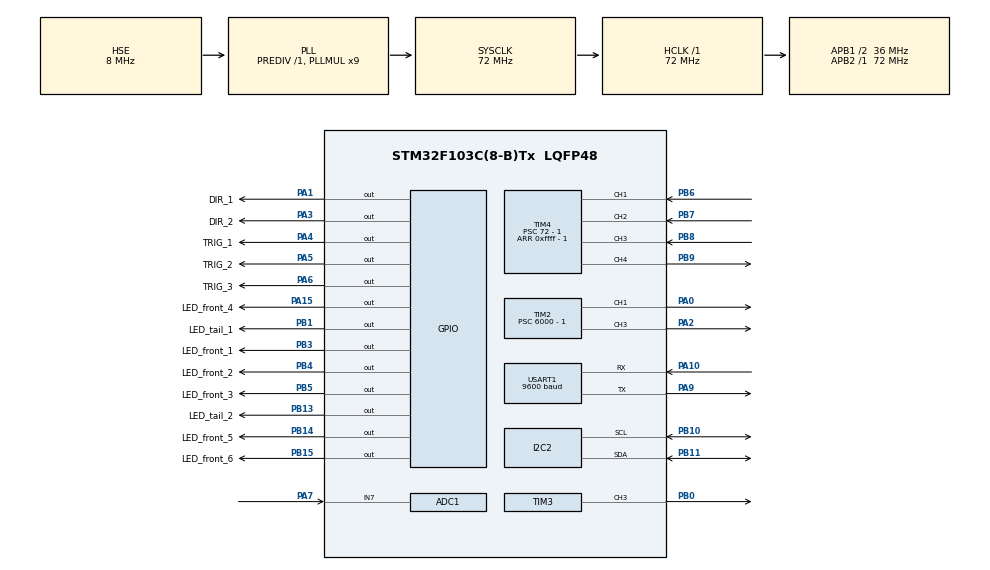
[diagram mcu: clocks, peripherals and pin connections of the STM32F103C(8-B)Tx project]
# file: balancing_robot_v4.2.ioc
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ADC1.Channel-5\#ChannelRegularConversion=ADC_CHANNEL_7
ADC1.ContinuousConvMode=ENABLE
ADC1.NbrOfConversionFlag=1
ADC1.Rank-5\#ChannelRegularConversion=1
ADC1.SamplingTime-5\#ChannelRegularConversion=ADC_SAMPLETIME_1CYCLE_5
ADC1.master=1
Dma.ADC1.0.Direction=DMA_PERIPH_TO_MEMORY
Dma.ADC1.0.Instance=DMA1_Channel1
Dma.ADC1.0.MemDataAlignment=DMA_MDATAALIGN_WORD
Dma.ADC1.0.MemInc=DMA_MINC_ENABLE
Dma.ADC1.0.Mode=DMA_CIRCULAR
Dma.ADC1.0.PeriphDataAlignment=DMA_PDATAALIGN_WORD
Dma.ADC1.0.PeriphInc=DMA_PINC_DISABLE
Dma.ADC1.0.Priority=DMA_PRIORITY_LOW
Dma.Request0=ADC1
FREERTOS.INCLUDE_uxTaskGetStackHighWaterMark=1
FREERTOS.INCLUDE_vTaskDelayUntil=1
FREERTOS.Tasks01=MPU6050,2,256,readMPU6050,Default,NULL,Dynamic,NULL,NULL;xBEERemote,-1,320,moveRemote,Default,NULL,Dynamic,NULL,NULL;Robot,1,256,balanceBot,Default,NULL,Dynamic,NULL,NULL;BatteryVoltage,-2,256,checkBatteryVoltage,Default,NULL,Dynamic,NULL,NULL;HCSR04,0,320,avoidCollision,Default,NULL,Dynamic,NULL,NULL
FREERTOS.configCHECK_FOR_STACK_OVERFLOW=2
FREERTOS.configMAX_TASK_NAME_LEN=20
FREERTOS.configMINIMAL_STACK_SIZE=256
FREERTOS.configRECORD_STACK_HIGH_ADDRESS=1
FREERTOS.configTIMER_TASK_PRIORITY=1
FREERTOS.configTIMER_TASK_STACK_DEPTH=256
FREERTOS.configTOTAL_HEAP_SIZE=10000
FREERTOS.configUSE_MALLOC_FAILED_HOOK=1
FREERTOS.configUSE_MUTEXES=1
FREERTOS.configUSE_TIMERS=0
Mcu.Family=STM32F1
Mcu.Name=STM32F103C(8-B)Tx
Mcu.Package=LQFP48
NVIC.ADC1_2_IRQn=true\:0\:0\:false\:false\:true\:false\:true\:true
NVIC.DMA1_Channel1_IRQn=true\:0\:0\:false\:false\:true\:false\:false\:true
NVIC.PriorityGroup=NVIC_PRIORITYGROUP_4
NVIC.TIM1_UP_IRQn=true\:0\:0\:false\:false\:true\:false\:true\:true
NVIC.TIM2_IRQn=true\:0\:0\:false\:false\:true\:false\:true\:true
NVIC.TIM3_IRQn=true\:0\:0\:false\:false\:true\:false\:true\:true
NVIC.TIM4_IRQn=true\:0\:0\:false\:false\:true\:false\:true\:true
NVIC.TimeBase=TIM1_UP_IRQn
NVIC.TimeBaseIP=TIM1
NVIC.USART1_IRQn=true\:0\:0\:false\:false\:true\:false\:true\:true
PA0-WKUP.Signal=S_TIM2_CH1_ETR
PA1.GPIO_Label=DIR_1
PA1.Signal=GPIO_Output
PA10.Mode=Asynchronous
PA10.Signal=USART1_RX
PA13.Mode=Serial_Wire
PA13.Signal=SYS_JTMS-SWDIO
PA14.Mode=Serial_Wire
PA14.Signal=SYS_JTCK-SWCLK
PA15.GPIO_Label=LED_front_4
PA15.Signal=GPIO_Output
PA2.Signal=S_TIM2_CH3
PA3.GPIO_Label=DIR_2
PA3.Signal=GPIO_Output
PA4.GPIO_Label=TRIG_1
PA4.Signal=GPIO_Output
PA5.GPIO_Label=TRIG_2
PA5.Signal=GPIO_Output
PA6.GPIO_Label=TRIG_3
PA6.Signal=GPIO_Output
PA7.Signal=ADCx_IN7
PA9.Mode=Asynchronous
PA9.Signal=USART1_TX
PB0.Signal=S_TIM3_CH3
PB1.GPIO_Label=LED_tail_1
PB1.Signal=GPIO_Output
PB10.Mode=I2C
PB10.Signal=I2C2_SCL
PB11.Mode=I2C
PB11.Signal=I2C2_SDA
PB13.GPIO_Label=LED_tail_2
PB13.Signal=GPIO_Output
PB14.GPIO_Label=LED_front_5
PB14.Signal=GPIO_Output
PB15.GPIO_Label=LED_front_6
PB15.Signal=GPIO_Output
PB3.GPIO_Label=LED_front_1
PB3.Signal=GPIO_Output
PB4.GPIO_Label=LED_front_2
PB4.Signal=GPIO_Output
PB5.GPIO_Label=LED_front_3
PB5.Signal=GPIO_Output
PB6.Signal=S_TIM4_CH1
PB7.Signal=S_TIM4_CH2
PB8.Signal=S_TIM4_CH3
PB9.Signal=S_TIM4_CH4
PD0-OSC_IN.Mode=HSE-External-Oscillator
PD0-OSC_IN.Signal=RCC_OSC_IN
PD1-OSC_OUT.Mode=HSE-External-Oscillator
PD1-OSC_OUT.Signal=RCC_OSC_OUT
ProjectManager.HeapSize=0x200
ProjectManager.StackSize=0x400
ProjectManager.TargetToolchain=STM32CubeIDE
RCC.ADCPresc=RCC_ADCPCLK2_DIV6
RCC.AHBFreq_Value=72000000
RCC.APB1CLKDivider=RCC_HCLK_DIV2
RCC.APB1Freq_Value=36000000
RCC.APB1TimFreq_Value=72000000
RCC.APB2Freq_Value=72000000
RCC.APB2TimFreq_Value=72000000
RCC.HCLKFreq_Value=72000000
RCC.PLLMUL=RCC_PLL_MUL9
RCC.PLLSourceVirtual=RCC_PLLSOURCE_HSE
RCC.SYSCLKFreq_VALUE=72000000
RCC.SYSCLKSource=RCC_SYSCLKSOURCE_PLLCLK
RCC.USBFreq_Value=72000000
SH.ADCx_IN7.0=ADC1_IN7,IN7
SH.S_TIM2_CH1_ETR.0=TIM2_CH1,PWM Generation1 CH1
SH.S_TIM2_CH3.0=TIM2_CH3,PWM Generation3 CH3
SH.S_TIM3_CH3.0=TIM3_CH3,PWM Generation3 CH3
SH.S_TIM4_CH1.0=TIM4_CH1,Input_Capture1_from_TI1
SH.S_TIM4_CH2.0=TIM4_CH2,Input_Capture2_from_TI2
SH.S_TIM4_CH3.0=TIM4_CH3,Input_Capture3_from_TI3
SH.S_TIM4_CH4.0=TIM4_CH4,PWM Generation4 CH4
TIM2.AutoReloadPreload=TIM_AUTORELOAD_PRELOAD_ENABLE
TIM2.Channel-PWM\ Generation1\ CH1=TIM_CHANNEL_1
TIM2.Channel-PWM\ Generation3\ CH3=TIM_CHANNEL_3
TIM2.Period=255
TIM2.Prescaler=6000 - 1
TIM3.AutoReloadPreload=TIM_AUTORELOAD_PRELOAD_ENABLE
TIM3.Channel-PWM\ Generation3\ CH3=TIM_CHANNEL_3
TIM3.Period=9
TIM3.Prescaler=6000 - 1
TIM4.AutoReloadPreload=TIM_AUTORELOAD_PRELOAD_ENABLE
TIM4.Channel-Input_Capture1_from_TI1=TIM_CHANNEL_1
TIM4.Channel-Input_Capture2_from_TI2=TIM_CHANNEL_2
TIM4.Channel-Input_Capture3_from_TI3=TIM_CHANNEL_3
TIM4.Channel-PWM\ Generation4\ CH4=TIM_CHANNEL_4
TIM4.Period=0xffff - 1
TIM4.Prescaler=72 - 1
USART1.BaudRate=9600
USART1.Parity=PARITY_NONE
USART1.StopBits=STOPBITS_1
USART1.VirtualMode=VM_ASYNC
VP_FREERTOS_VS_CMSIS_V1.Mode=CMSIS_V1
VP_SYS_VS_tim1.Mode=TIM1
VP_TIM2_VS_ClockSourceINT.Mode=Internal
VP_TIM3_VS_ClockSourceINT.Mode=Internal
VP_TIM4_VS_ClockSourceINT.Mode=Internal
board=custom

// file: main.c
/* USER CODE BEGIN Header */
/**
  ******************************************************************************
  * @file           : main.c
  * @brief          : Main program body
  ******************************************************************************
  * @attention
  *
  * <h2><center>&copy; Copyright (c) 2020 STMicroelectronics.
  * All rights reserved.</center></h2>
  *
  * This software component is licensed by ST under Ultimate Liberty license
  * SLA0044, the "License"; You may not use this file except in compliance with
  * the License. You may obtain a copy of the License at:
  *                             www.st.com/SLA0044
  *
  ******************************************************************************
  */
/* USER CODE END Header */
#include "main.h"
#include "cmsis_os.h"

/* USER CODE BEGIN Includes */

#include<stdio.h>
#include<math.h>

/* USER CODE END Includes */

/* USER CODE BEGIN PD */

// GY-521/MPU6050 Address
#define MPU6050_ADDR 0xD0
#define SMPLRT_DIV_REG 0x19
#define GYRO_CONFIG_REG 0x1B
#define ACCEL_CONFIG_REG 0x1C
#define ACCEL_XOUT_H_REG 0x3B
#define TEMP_OUT_H_REG 0x41
#define GYRO_XOUT_H_REG 0x43
#define PWR_MGMT_1_REG 0x6B
#define WHO_AM_I_REG 0x75

// Tones in Hz
#define C1	33
#define C2	65
#define C3	131
#define C4	262
#define C5	523
#define C6	1047
#define C7	2093
#define C8	4186
#define D1	37
#define D2	73
#define D3	147
#define D4	294
#define D5	587
#define D6	1175
#define D7	2349
#define D8	4699

#define SYS_CLOCK_FREQUENCY 72000000 // 72MHz
#define PSC	6000	// Prescalar of 6000 for TIM2 & TIM3

// Battery voltage constants
#define ADC_BUF_LEN	100
#define RES_RATIO 4.30
#define SAFE_VOLTAGE 10.5

#define XBEE_BUF_LEN 22

// NEMA17 Specifications
#define STEPS_PER_REVOLUTION 200
#define STEP_ANGLE 1.8
#define MICROSTEPPING 8		// Using microstepping of 1/8

// Robot Specifications
#define WHEEL_DIAMETER 0.094		// 9.4 cm
#define WHEEL_CIRCUMFERENCE M_PI * WHEEL_DIAMETER

/* USER CODE END PD */

ADC_HandleTypeDef hadc1;
DMA_HandleTypeDef hdma_adc1;

I2C_HandleTypeDef hi2c2;

TIM_HandleTypeDef htim2;
TIM_HandleTypeDef htim3;
TIM_HandleTypeDef htim4;

UART_HandleTypeDef huart1;
DMA_HandleTypeDef hdma_usart1_rx;

osThreadId MPU6050Handle;
osThreadId xBEERemoteHandle;
osThreadId RobotHandle;
osThreadId BatteryVoltageHandle;
osThreadId HCSR04Handle;
/* USER CODE BEGIN PV */

// MPU6050 configuration
int16_t Accel_X_RAW = 0;
int16_t Accel_Y_RAW = 0;
int16_t Accel_Z_RAW = 0;

int16_t Gyro_X_RAW = 0;
int16_t Gyro_Y_RAW = 0;
int16_t Gyro_Z_RAW = 0;

float Ax, Ay, Az, Gx, Gy, Gz;
float Accel_X_Angle, Accel_Y_Angle, Gyro_X_Angle, Gyro_Y_Angle;
float roll, pitch;

// Buzzer configuration
uint16_t buzzer_frequency = 0;
uint16_t buzzer_duty_cycle = 0;

// HC-SR04 configuration
uint32_t IC_Val1 = 0;
uint32_t IC_Val2 = 0;
uint32_t Difference = 0;
uint8_t is_first_captured = 0;	// is the first value captured ?
uint8_t distance[3];

// Battery voltage configuration
uint32_t adc_buf[ADC_BUF_LEN];
uint32_t adc_avg_val=0;
float battery_voltage;

// xBee configuration
uint8_t xBee_buf[XBEE_BUF_LEN];
uint8_t xBee_val[10];

// joystick configuration
uint8_t left_toggle_switch;
uint8_t right_toggle_switch;
uint8_t left_joystick_button;
uint8_t right_joystick_button;
uint16_t joystick_1_x;
uint16_t joystick_1_y;
uint16_t joystick_2_x;
uint16_t joystick_2_y;

// Stepper motor configuration
uint16_t freq_hz;

// Servo motor configuration
float servo_pos = 1500;

// Robot configuration
float Sref = 0;
float s = 0;

char uart_buf[100];
int uart_buf_len;

/* USER CODE END PV */

void SystemClock_Config(void);
static void MX_GPIO_Init(void);
static void MX_DMA_Init(void);
static void MX_USART1_UART_Init(void);
static void MX_I2C2_Init(void);
static void MX_TIM4_Init(void);
static void MX_ADC1_Init(void);
static void MX_TIM3_Init(void);
static void MX_TIM2_Init(void);
void readMPU6050(void const * argument);
void moveRemote(void const * argument);
void balanceBot(void const * argument);
void checkBatteryVoltage(void const * argument);
void avoidCollision(void const * argument);

/* USER CODE BEGIN 0 */

void MPU6050_Init(void)
{
	uint8_t check, Data;
	// check device ID WHO_AM_I
	HAL_I2C_Mem_Read(&hi2c2, MPU6050_ADDR, WHO_AM_I_REG, 1, &check, 1, 1000);

	if (check == 104) // if the device is present
	{
		// power management register 0x6B we should write all 0's to wake the sensor
		Data = 0;
		HAL_I2C_Mem_Write(&hi2c2, MPU6050_ADDR, PWR_MGMT_1_REG, 1, &Data, 1, 1000);

		// Set DATA RATE of 1KHz by writing SMPLRT_DIV register
		Data = 0x07;
		HAL_I2C_Mem_Write(&hi2c2, MPU6050_ADDR, SMPLRT_DIV_REG, 1, &Data, 1, 1000);

		// Set accelerometer configuration in ACCEL_CONFIG Register
		// XA_ST=0, YA_ST=0, ZA_ST=0, FS_SEL=0 -> +-2g
		Data = 0x00;
		HAL_I2C_Mem_Write(&hi2c2, MPU6050_ADDR, ACCEL_CONFIG_REG, 1, &Data, 1, 1000);

		// Set Gyroscopic configuration in GYRO_CONFIG Register
		// XG_ST=0, YG_ST=0, ZG_ST=0, FS_SEL=0 -> +- 250 degree/s
		Data = 0x00;
		HAL_I2C_Mem_Write(&hi2c2, MPU6050_ADDR, GYRO_CONFIG_REG, 1, &Data, 1, 1000);
	}
}

void MPU6050_Read_Accel(void)
{
	uint8_t Rec_Data[6];

	// Read 6 BYTES of data starting from ACCEL_XOUT_H register

	HAL_I2C_Mem_Read(&hi2c2, MPU6050_ADDR, ACCEL_XOUT_H_REG, 1, Rec_Data, 6, 1000);

	Accel_X_RAW = (int16_t)(Rec_Data[0] << 8 | Rec_Data[1]);
	Accel_Y_RAW = (int16_t)(Rec_Data[2] << 8 | Rec_Data[3]);
	Accel_Z_RAW = (int16_t)(Rec_Data[4] << 8 | Rec_Data[5]);

	/*** convert the RAW values into acceleration in 'g'
	     we have to divide according to the Full scale value set in FS_SEL
	     I have configured FS_SEL = 0. So I am dividing by 16384.0
	     for more details check ACCEL_CONFIG Register              ****/

	Ax = Accel_X_RAW/16384.0;  // get the float g
	Ay = Accel_Y_RAW/16384.0;
	Az = Accel_Z_RAW/16384.0;
}

void MPU6050_Read_Gyro(void)
{
	uint8_t Rec_Data[6];

	// Read 6 BYTES of data starting from GYRO_XOUT_H register

	HAL_I2C_Mem_Read(&hi2c2, MPU6050_ADDR, GYRO_XOUT_H_REG, 1, Rec_Data, 6, 1000);

	Gyro_X_RAW = (int16_t)(Rec_Data[0] << 8 | Rec_Data[1]);
	Gyro_Y_RAW = (int16_t)(Rec_Data[2] << 8 | Rec_Data[3]);
	Gyro_Z_RAW = (int16_t)(Rec_Data[4] << 8 | Rec_Data[5]);

	/*** convert the RAW values into dps (°/s)
	     we have to divide according to the Full scale value set in FS_SEL
	     I have configured FS_SEL = 0. So I am dividing by 131.0
	     for more details check GYRO_CONFIG Register              ****/

	Gx = Gyro_X_RAW/131.0;
	Gy = Gyro_Y_RAW/131.0;
	Gz = Gyro_Z_RAW/131.0;
}

void buzzer_tone(uint16_t tone)
{
	// Required frequency(tone) = SYSC_CLOCK_FREQUENCY / ((PSC + 1) * (ARR + 1))
	buzzer_frequency = SYS_CLOCK_FREQUENCY/(PSC * tone);
	buzzer_duty_cycle = buzzer_frequency/2;		// 50% duty cycle
}

void delay_us(uint16_t time)
/* Provides delay in microseconds */
{
	__HAL_TIM_SET_COUNTER(&htim4, 0);
	while(__HAL_TIM_GET_COUNTER(&htim4) < time);
}

void HAL_TIM_PWM_PulseFinishedCallback(TIM_HandleTypeDef* htim)
{
	if(htim->Instance == TIM3 && buzzer_frequency > 0)
	{
		TIM3->ARR = buzzer_frequency - 1;
		TIM3->CCR3 = buzzer_duty_cycle;
	}

	else if(htim->Instance == TIM2)
		{
			uint16_t arr = (SYS_CLOCK_FREQUENCY/(PSC * freq_hz)) - 1;
			uint16_t step = 0;
			TIM2->ARR = arr;
			if(htim->Channel == HAL_TIM_ACTIVE_CHANNEL_1)
				TIM2->CCR1 = arr/2;		//Duty cycle of 50%
			else if(htim->Channel == HAL_TIM_ACTIVE_CHANNEL_3)
				TIM2->CCR3 = arr/2;
			uart_buf_len = sprintf(uart_buf, "PWM STARTED FOR WHEEL\r\n");
			HAL_UART_Transmit(&huart1, (uint8_t *)uart_buf, uart_buf_len, 1000);
			HAL_TIM_PWM_Stop_IT(&htim2, TIM_CHANNEL_1); 	// Stop PWM
			HAL_TIM_PWM_Stop_IT(&htim2, TIM_CHANNEL_3);
			uart_buf_len = sprintf(uart_buf, "PWM STOPPED FOR WHEEL\r\n");
			HAL_UART_Transmit(&huart1, (uint8_t *)uart_buf, uart_buf_len, 1000);
		}
	else if(htim->Instance == TIM4 && htim->Channel == HAL_TIM_ACTIVE_CHANNEL_4)
	{
		TIM4->ARR = 20000 - 1;	// To get frequency of 50Hz for servo motor
		TIM4->CCR4 = servo_pos;
		HAL_TIM_PWM_Stop_IT(&htim4, TIM_CHANNEL_4);
	}
}

void HAL_TIM_IC_CaptureCallback(TIM_HandleTypeDef *htim)
{
	if(htim->Instance == TIM4 && htim->Channel == HAL_TIM_ACTIVE_CHANNEL_1)
			// if the interrupt source is channel1
		{
			if(is_first_captured==0) // if the first value is not captured
			{
				IC_Val1 = HAL_TIM_ReadCapturedValue(htim, TIM_CHANNEL_1);
				// read the first value
				is_first_captured = 1;  // set the first captured as true
				// Now change the polarity to falling edge
				__HAL_TIM_SET_CAPTUREPOLARITY(htim, TIM_CHANNEL_1, TIM_INPUTCHANNELPOLARITY_FALLING);
			}

			else if(is_first_captured==1)   // if the first is already captured
			{
				IC_Val2 = HAL_TIM_ReadCapturedValue(htim, TIM_CHANNEL_1);
				// read second value
				__HAL_TIM_SET_COUNTER(htim, 0);  // reset the counter

				if (IC_Val2 > IC_Val1)
				{
					Difference = IC_Val2-IC_Val1;
				}

				else if (IC_Val1 > IC_Val2)
				{
					Difference = (0xffff - IC_Val1) + IC_Val2;
				}

				distance[0] = Difference * 0.034/2;
				is_first_captured = 0; // set it back to false

				// set polarity to rising edge
				__HAL_TIM_SET_CAPTUREPOLARITY(htim, TIM_CHANNEL_1, TIM_INPUTCHANNELPOLARITY_RISING);
				__HAL_TIM_DISABLE_IT(&htim4, TIM_IT_CC1);
			}
	}
	else if(htim->Instance == TIM4 && htim->Channel == HAL_TIM_ACTIVE_CHANNEL_2)
				// if the interrupt source is channel2
			{
				if(is_first_captured==0) // if the first value is not captured
				{
					IC_Val1 = HAL_TIM_ReadCapturedValue(htim, TIM_CHANNEL_2);
					// read the first value
					is_first_captured = 1;  // set the first captured as true
					// Now change the polarity to falling edge
					__HAL_TIM_SET_CAPTUREPOLARITY(htim, TIM_CHANNEL_2, TIM_INPUTCHANNELPOLARITY_FALLING);
				}

				else if(is_first_captured==1)   // if the first is already captured
				{
					IC_Val2 = HAL_TIM_ReadCapturedValue(htim, TIM_CHANNEL_2);
					// read second value
					__HAL_TIM_SET_COUNTER(htim, 0);  // reset the counter

					if (IC_Val2 > IC_Val1)
					{
						Difference = IC_Val2-IC_Val1;
					}

					else if (IC_Val1 > IC_Val2)
					{
						Difference = (0xffff - IC_Val1) + IC_Val2;
					}

					distance[1] = Difference * 0.034/2;
					is_first_captured = 0; // set it back to false

					// set polarity to rising edge
					__HAL_TIM_SET_CAPTUREPOLARITY(htim, TIM_CHANNEL_2, TIM_INPUTCHANNELPOLARITY_RISING);
					__HAL_TIM_DISABLE_IT(&htim4, TIM_IT_CC2);
				}
		}
	else if(htim->Instance == TIM4 && htim->Channel == HAL_TIM_ACTIVE_CHANNEL_3)
					// if the interrupt source is channel4
				{
					if(is_first_captured==0) // if the first value is not captured
					{
						IC_Val1 = HAL_TIM_ReadCapturedValue(htim, TIM_CHANNEL_3);
						// read the first value
						is_first_captured = 1;  // set the first captured as true
						// Now change the polarity to falling edge
						__HAL_TIM_SET_CAPTUREPOLARITY(htim, TIM_CHANNEL_3, TIM_INPUTCHANNELPOLARITY_FALLING);
					}

					else if(is_first_captured==1)   // if the first is already captured
					{
						IC_Val2 = HAL_TIM_ReadCapturedValue(htim, TIM_CHANNEL_3);
						// read second value
						__HAL_TIM_SET_COUNTER(htim, 0);  // reset the counter

						if (IC_Val2 > IC_Val1)
						{
							Difference = IC_Val2-IC_Val1;
						}

						else if (IC_Val1 > IC_Val2)
						{
							Difference = (0xffff - IC_Val1) + IC_Val2;
						}

						distance[2] = Difference * 0.034/2;
						is_first_captured = 0; // set it back to false

						// set polarity to rising edge
						__HAL_TIM_SET_CAPTUREPOLARITY(htim, TIM_CHANNEL_3, TIM_INPUTCHANNELPOLARITY_RISING);
						__HAL_TIM_DISABLE_IT(&htim4, TIM_IT_CC3);
					}
			}
}

void HCSR04_Read(void)
{
	HAL_GPIO_WritePin(TRIG_1_GPIO_Port, TRIG_1_Pin, GPIO_PIN_SET); // pull the TRIG pin HIGH
	delay_us(10); // wait for 10 us
	HAL_GPIO_WritePin(TRIG_1_GPIO_Port, TRIG_1_Pin, GPIO_PIN_RESET); // pull the TRIG pin LOW
	__HAL_TIM_ENABLE_IT(&htim4, TIM_IT_CC1);
	uart_buf_len = sprintf(uart_buf, "Distance(1): %d\r\n", distance[0]);
	HAL_UART_Transmit(&huart1, (uint8_t *)uart_buf, uart_buf_len, 1000);

	HAL_GPIO_WritePin(TRIG_2_GPIO_Port, TRIG_2_Pin, GPIO_PIN_SET); // pull the TRIG pin HIGH
	delay_us(10);
	HAL_GPIO_WritePin(TRIG_2_GPIO_Port, TRIG_2_Pin, GPIO_PIN_RESET); // pull the TRIG pin LOW
	__HAL_TIM_ENABLE_IT(&htim4, TIM_IT_CC2);
	uart_buf_len = sprintf(uart_buf, "Distance(2): %d\r\n", distance[1]);
	HAL_UART_Transmit(&huart1, (uint8_t *)uart_buf, uart_buf_len, 1000);

	HAL_GPIO_WritePin(TRIG_3_GPIO_Port, TRIG_3_Pin, GPIO_PIN_SET); // pull the TRIG pin HIGH
	delay_us(10);
	HAL_GPIO_WritePin(TRIG_3_GPIO_Port, TRIG_3_Pin, GPIO_PIN_RESET); // pull the TRIG pin LOW
	__HAL_TIM_ENABLE_IT(&htim4, TIM_IT_CC3);
	uart_buf_len = sprintf(uart_buf, "Distance(3): %d\r\n", distance[2]);
	HAL_UART_Transmit(&huart1, (uint8_t *)uart_buf, uart_buf_len, 1000);
}

void HAL_ADC_ConvCpltCallback(ADC_HandleTypeDef* hadc)
{
  for(int i=0; i < ADC_BUF_LEN; i++)
	  adc_avg_val += adc_buf[i];
  adc_avg_val = adc_avg_val/ADC_BUF_LEN;
  battery_voltage = adc_avg_val * (3.33 / 4096.00) * RES_RATIO;	// 12-bit ADC so 4096.00
  uart_buf_len = sprintf(uart_buf, "Voltage: %f\r\n", battery_voltage);
  HAL_UART_Transmit(&huart1, (uint8_t *)uart_buf, uart_buf_len, 1000);
}

void stepper_motor(int rpm, int direction)		// stepper motor function. Two parameters: Pulse and direction
{
	freq_hz = rpm / (((STEP_ANGLE/MICROSTEPPING) / 360) * 60);
	if(direction == 0)
	{
		HAL_GPIO_WritePin(GPIOA, DIR_1_Pin|DIR_2_Pin, GPIO_PIN_RESET); // if the direction information is zero, the PINA1 & PINA3 is set to logic 0
		HAL_GPIO_WritePin(LED_tail_1_GPIO_Port, LED_tail_1_Pin, GPIO_PIN_SET);		// Turn ON rear LEDs
		HAL_GPIO_WritePin(LED_tail_2_GPIO_Port, LED_tail_2_Pin, GPIO_PIN_SET);
	}
	else
	{
		HAL_GPIO_WritePin(GPIOA, DIR_1_Pin|DIR_2_Pin, GPIO_PIN_SET);
		HAL_GPIO_WritePin(LED_front_3_GPIO_Port, LED_front_3_Pin, GPIO_PIN_SET);	// Turn the BLUE LEDs ON
		HAL_GPIO_WritePin(LED_front_4_GPIO_Port, LED_front_4_Pin, GPIO_PIN_SET);

	HAL_TIM_PWM_Start_IT(&htim2, TIM_CHANNEL_1);		// PWM Started
	HAL_TIM_PWM_Start_IT(&htim2, TIM_CHANNEL_3);

	HAL_GPIO_WritePin(LED_tail_1_GPIO_Port, LED_tail_1_Pin, GPIO_PIN_RESET);		// Turn OFF rear LEDs
	HAL_GPIO_WritePin(LED_tail_2_GPIO_Port, LED_tail_2_Pin, GPIO_PIN_RESET);
	HAL_GPIO_WritePin(LED_front_3_GPIO_Port, LED_front_3_Pin, GPIO_PIN_RESET);	// Turn the BLUE LEDs OFF
	HAL_GPIO_WritePin(LED_front_4_GPIO_Port, LED_front_4_Pin, GPIO_PIN_RESET);
	}
}

void left_turn(int rpm)
{
	freq_hz = rpm / (((STEP_ANGLE/MICROSTEPPING) / 360) * 60);
	HAL_GPIO_WritePin(LED_front_6_GPIO_Port, LED_front_6_Pin, GPIO_PIN_SET);
	HAL_TIM_PWM_Start_IT(&htim2, TIM_CHANNEL_1);
	HAL_GPIO_WritePin(LED_front_6_GPIO_Port, LED_front_6_Pin, GPIO_PIN_RESET);
}

void right_turn(int rpm)
{
	freq_hz = rpm / (((STEP_ANGLE/MICROSTEPPING) / 360) * 60);
	HAL_GPIO_WritePin(LED_front_1_GPIO_Port, LED_front_1_Pin, GPIO_PIN_SET);
	HAL_TIM_PWM_Start_IT(&htim2, TIM_CHANNEL_3);
	HAL_GPIO_WritePin(LED_front_1_GPIO_Port, LED_front_1_Pin, GPIO_PIN_RESET);
}

void balance_robot_func(float input_acceleration)
{
	float distance = (STEP_ANGLE/MICROSTEPPING)*(M_PI/180) * (WHEEL_DIAMETER/2); // Distance travelled in one step
	freq_hz = sqrt(input_acceleration/distance);
	uart_buf_len = sprintf(uart_buf, "ROTATION FREQUENCY: %d\r\n", freq_hz);
	HAL_UART_Transmit(&huart1, (uint8_t *)uart_buf, uart_buf_len, 1000);
	HAL_TIM_PWM_Start_IT(&htim2, TIM_CHANNEL_1);
	HAL_TIM_PWM_Start_IT(&htim2, TIM_CHANNEL_3);
}

/* USER CODE END 0 */

int main(void)
{

  /* MCU Configuration--------------------------------------------------------*/

  /* Reset of all peripherals, Initializes the Flash interface and the Systick. */
  HAL_Init();

  /* Configure the system clock */
  SystemClock_Config();

  /* Initialize all configured peripherals */
  MX_GPIO_Init();
  MX_DMA_Init();
  MX_USART1_UART_Init();
  MX_I2C2_Init();
  MX_TIM4_Init();
  MX_ADC1_Init();
  MX_TIM3_Init();
  MX_TIM2_Init();
  /* USER CODE BEGIN 2 */

  uart_buf_len = sprintf(uart_buf, "HELLO WORLD\r\n");
  HAL_UART_Transmit(&huart1, (uint8_t *)uart_buf, uart_buf_len, 1000);

  MPU6050_Init();

  uart_buf_len = sprintf(uart_buf, "MPU6050 INIT DONE\r\n");
  HAL_UART_Transmit(&huart1, (uint8_t *)uart_buf, uart_buf_len, 1000);

  // turn on the PWM for buzzer
  HAL_TIM_PWM_Start_IT(&htim3, TIM_CHANNEL_3);

  uart_buf_len = sprintf(uart_buf, "PWM FOR BUZZER INIT\r\n");
  HAL_UART_Transmit(&huart1, (uint8_t *)uart_buf, uart_buf_len, 1000);

  // Start receiving echo on HC-SR04 module
  HAL_TIM_IC_Start_IT(&htim4, TIM_CHANNEL_1);
  HAL_TIM_IC_Start_IT(&htim4, TIM_CHANNEL_2);
  HAL_TIM_IC_Start_IT(&htim4, TIM_CHANNEL_3);

  uart_buf_len = sprintf(uart_buf, "HCSR04 INIT\r\n");
  HAL_UART_Transmit(&huart1, (uint8_t *)uart_buf, uart_buf_len, 1000);

  uart_buf_len = sprintf(uart_buf, "ALL INIT DONE, STARTING TASKS\r\n");
  HAL_UART_Transmit(&huart1, (uint8_t *)uart_buf, uart_buf_len, 1000);

  /* USER CODE END 2 */

  /* Create the thread(s) */
  /* definition and creation of MPU6050 */
//  osThreadDef(MPU6050, readMPU6050, osPriorityHigh, 0, 256);
//  MPU6050Handle = osThreadCreate(osThread(MPU6050), NULL);

  /* definition and creation of xBEERemote */
  osThreadDef(xBEERemote, moveRemote, osPriorityBelowNormal, 0, 320);
  xBEERemoteHandle = osThreadCreate(osThread(xBEERemote), NULL);

//  /* definition and creation of Robot */
//  osThreadDef(Robot, balanceBot, osPriorityAboveNormal, 0, 256);
//  RobotHandle = osThreadCreate(osThread(Robot), NULL);
//
//  /* definition and creation of BatteryVoltage */
//  osThreadDef(BatteryVoltage, checkBatteryVoltage, osPriorityLow, 0, 256);
//  BatteryVoltageHandle = osThreadCreate(osThread(BatteryVoltage), NULL);
//
//  /* definition and creation of HCSR04 */
//  osThreadDef(HCSR04, avoidCollision, osPriorityNormal, 0, 320);
//  HCSR04Handle = osThreadCreate(osThread(HCSR04), NULL);

  /* Start scheduler */
  osKernelStart();

  /* We should never get here as control is now taken by the scheduler */
  /* Infinite loop */
  while (1)
  {

  }
}

void SystemClock_Config(void)
{
  RCC_OscInitTypeDef RCC_OscInitStruct = {0};
  RCC_ClkInitTypeDef RCC_ClkInitStruct = {0};
  RCC_PeriphCLKInitTypeDef PeriphClkInit = {0};

  /** Initializes the RCC Oscillators according to the specified parameters
  * in the RCC_OscInitTypeDef structure.
  */
  RCC_OscInitStruct.OscillatorType = RCC_OSCILLATORTYPE_HSE;
  RCC_OscInitStruct.HSEState = RCC_HSE_ON;
  RCC_OscInitStruct.HSEPredivValue = RCC_HSE_PREDIV_DIV1;
  RCC_OscInitStruct.HSIState = RCC_HSI_ON;
  RCC_OscInitStruct.PLL.PLLState = RCC_PLL_ON;
  RCC_OscInitStruct.PLL.PLLSource = RCC_PLLSOURCE_HSE;
  RCC_OscInitStruct.PLL.PLLMUL = RCC_PLL_MUL9;
  if (HAL_RCC_OscConfig(&RCC_OscInitStruct) != HAL_OK)
  {
    Error_Handler();
  }
  /** Initializes the CPU, AHB and APB buses clocks
  */
  RCC_ClkInitStruct.ClockType = RCC_CLOCKTYPE_HCLK|RCC_CLOCKTYPE_SYSCLK
                              |RCC_CLOCKTYPE_PCLK1|RCC_CLOCKTYPE_PCLK2;
  RCC_ClkInitStruct.SYSCLKSource = RCC_SYSCLKSOURCE_PLLCLK;
  RCC_ClkInitStruct.AHBCLKDivider = RCC_SYSCLK_DIV1;
  RCC_ClkInitStruct.APB1CLKDivider = RCC_HCLK_DIV2;
  RCC_ClkInitStruct.APB2CLKDivider = RCC_HCLK_DIV1;

  if (HAL_RCC_ClockConfig(&RCC_ClkInitStruct, FLASH_LATENCY_2) != HAL_OK)
  {
    Error_Handler();
  }
  PeriphClkInit.PeriphClockSelection = RCC_PERIPHCLK_ADC;
  PeriphClkInit.AdcClockSelection = RCC_ADCPCLK2_DIV6;
  if (HAL_RCCEx_PeriphCLKConfig(&PeriphClkInit) != HAL_OK)
  {
    Error_Handler();
  }
}

static void MX_ADC1_Init(void)
{

  ADC_ChannelConfTypeDef sConfig = {0};

  /** Common config
  */
  hadc1.Instance = ADC1;
  hadc1.Init.ScanConvMode = ADC_SCAN_DISABLE;
  hadc1.Init.ContinuousConvMode = ENABLE;
  hadc1.Init.DiscontinuousConvMode = DISABLE;
  hadc1.Init.ExternalTrigConv = ADC_SOFTWARE_START;
  hadc1.Init.DataAlign = ADC_DATAALIGN_RIGHT;
  hadc1.Init.NbrOfConversion = 1;
  if (HAL_ADC_Init(&hadc1) != HAL_OK)
  {
    Error_Handler();
  }
  /** Configure Regular Channel
  */
  sConfig.Channel = ADC_CHANNEL_7;
  sConfig.Rank = ADC_REGULAR_RANK_1;
  sConfig.SamplingTime = ADC_SAMPLETIME_1CYCLE_5;
  if (HAL_ADC_ConfigChannel(&hadc1, &sConfig) != HAL_OK)
  {
    Error_Handler();
  }

}

static void MX_I2C2_Init(void)
{

  hi2c2.Instance = I2C2;
  hi2c2.Init.ClockSpeed = 100000;
  hi2c2.Init.DutyCycle = I2C_DUTYCYCLE_2;
  hi2c2.Init.OwnAddress1 = 0;
  hi2c2.Init.AddressingMode = I2C_ADDRESSINGMODE_7BIT;
  hi2c2.Init.DualAddressMode = I2C_DUALADDRESS_DISABLE;
  hi2c2.Init.OwnAddress2 = 0;
  hi2c2.Init.GeneralCallMode = I2C_GENERALCALL_DISABLE;
  hi2c2.Init.NoStretchMode = I2C_NOSTRETCH_DISABLE;
  if (HAL_I2C_Init(&hi2c2) != HAL_OK)
  {
    Error_Handler();
  }

}

static void MX_TIM2_Init(void)
{

  TIM_ClockConfigTypeDef sClockSourceConfig = {0};
  TIM_MasterConfigTypeDef sMasterConfig = {0};
  TIM_OC_InitTypeDef sConfigOC = {0};

  htim2.Instance = TIM2;
  htim2.Init.Prescaler = 6000 - 1;
  htim2.Init.CounterMode = TIM_COUNTERMODE_UP;
  htim2.Init.Period = 255;
  htim2.Init.ClockDivision = TIM_CLOCKDIVISION_DIV1;
  htim2.Init.AutoReloadPreload = TIM_AUTORELOAD_PRELOAD_ENABLE;
  if (HAL_TIM_Base_Init(&htim2) != HAL_OK)
  {
    Error_Handler();
  }
  sClockSourceConfig.ClockSource = TIM_CLOCKSOURCE_INTERNAL;
  if (HAL_TIM_ConfigClockSource(&htim2, &sClockSourceConfig) != HAL_OK)
  {
    Error_Handler();
  }
  if (HAL_TIM_PWM_Init(&htim2) != HAL_OK)
  {
    Error_Handler();
  }
  sMasterConfig.MasterOutputTrigger = TIM_TRGO_RESET;
  sMasterConfig.MasterSlaveMode = TIM_MASTERSLAVEMODE_DISABLE;
  if (HAL_TIMEx_MasterConfigSynchronization(&htim2, &sMasterConfig) != HAL_OK)
  {
    Error_Handler();
  }
  sConfigOC.OCMode = TIM_OCMODE_PWM1;
  sConfigOC.Pulse = 0;
  sConfigOC.OCPolarity = TIM_OCPOLARITY_HIGH;
  sConfigOC.OCFastMode = TIM_OCFAST_DISABLE;
  if (HAL_TIM_PWM_ConfigChannel(&htim2, &sConfigOC, TIM_CHANNEL_1) != HAL_OK)
  {
    Error_Handler();
  }
  if (HAL_TIM_PWM_ConfigChannel(&htim2, &sConfigOC, TIM_CHANNEL_3) != HAL_OK)
  {
    Error_Handler();
  }
  HAL_TIM_MspPostInit(&htim2);

}

static void MX_TIM3_Init(void)
{

  TIM_ClockConfigTypeDef sClockSourceConfig = {0};
  TIM_MasterConfigTypeDef sMasterConfig = {0};
  TIM_OC_InitTypeDef sConfigOC = {0};

  htim3.Instance = TIM3;
  htim3.Init.Prescaler = 6000 - 1;
  htim3.Init.CounterMode = TIM_COUNTERMODE_UP;
  htim3.Init.Period = 9;
  htim3.Init.ClockDivision = TIM_CLOCKDIVISION_DIV1;
  htim3.Init.AutoReloadPreload = TIM_AUTORELOAD_PRELOAD_ENABLE;
  if (HAL_TIM_Base_Init(&htim3) != HAL_OK)
  {
    Error_Handler();
  }
  sClockSourceConfig.ClockSource = TIM_CLOCKSOURCE_INTERNAL;
  if (HAL_TIM_ConfigClockSource(&htim3, &sClockSourceConfig) != HAL_OK)
  {
    Error_Handler();
  }
  if (HAL_TIM_PWM_Init(&htim3) != HAL_OK)
  {
    Error_Handler();
  }
  sMasterConfig.MasterOutputTrigger = TIM_TRGO_RESET;
  sMasterConfig.MasterSlaveMode = TIM_MASTERSLAVEMODE_DISABLE;
  if (HAL_TIMEx_MasterConfigSynchronization(&htim3, &sMasterConfig) != HAL_OK)
  {
    Error_Handler();
  }
  sConfigOC.OCMode = TIM_OCMODE_PWM1;
  sConfigOC.Pulse = 0;
  sConfigOC.OCPolarity = TIM_OCPOLARITY_HIGH;
  sConfigOC.OCFastMode = TIM_OCFAST_DISABLE;
  if (HAL_TIM_PWM_ConfigChannel(&htim3, &sConfigOC, TIM_CHANNEL_3) != HAL_OK)
  {
    Error_Handler();
  }
  HAL_TIM_MspPostInit(&htim3);

}

static void MX_TIM4_Init(void)
{

  TIM_ClockConfigTypeDef sClockSourceConfig = {0};
  TIM_MasterConfigTypeDef sMasterConfig = {0};
  TIM_IC_InitTypeDef sConfigIC = {0};
  TIM_OC_InitTypeDef sConfigOC = {0};

  htim4.Instance = TIM4;
  htim4.Init.Prescaler = 72 - 1;
  htim4.Init.CounterMode = TIM_COUNTERMODE_UP;
  htim4.Init.Period = 0xffff - 1;
  htim4.Init.ClockDivision = TIM_CLOCKDIVISION_DIV1;
  htim4.Init.AutoReloadPreload = TIM_AUTORELOAD_PRELOAD_ENABLE;
  if (HAL_TIM_Base_Init(&htim4) != HAL_OK)
  {
    Error_Handler();
  }
  sClockSourceConfig.ClockSource = TIM_CLOCKSOURCE_INTERNAL;
  if (HAL_TIM_ConfigClockSource(&htim4, &sClockSourceConfig) != HAL_OK)
  {
    Error_Handler();
  }
  if (HAL_TIM_IC_Init(&htim4) != HAL_OK)
  {
    Error_Handler();
  }
  if (HAL_TIM_PWM_Init(&htim4) != HAL_OK)
  {
    Error_Handler();
  }
  sMasterConfig.MasterOutputTrigger = TIM_TRGO_RESET;
  sMasterConfig.MasterSlaveMode = TIM_MASTERSLAVEMODE_DISABLE;
  if (HAL_TIMEx_MasterConfigSynchronization(&htim4, &sMasterConfig) != HAL_OK)
  {
    Error_Handler();
  }
  sConfigIC.ICPolarity = TIM_INPUTCHANNELPOLARITY_RISING;
  sConfigIC.ICSelection = TIM_ICSELECTION_DIRECTTI;
  sConfigIC.ICPrescaler = TIM_ICPSC_DIV1;
  sConfigIC.ICFilter = 0;
  if (HAL_TIM_IC_ConfigChannel(&htim4, &sConfigIC, TIM_CHANNEL_1) != HAL_OK)
  {
    Error_Handler();
  }
  if (HAL_TIM_IC_ConfigChannel(&htim4, &sConfigIC, TIM_CHANNEL_2) != HAL_OK)
  {
    Error_Handler();
  }
  if (HAL_TIM_IC_ConfigChannel(&htim4, &sConfigIC, TIM_CHANNEL_3) != HAL_OK)
  {
    Error_Handler();
  }
  sConfigOC.OCMode = TIM_OCMODE_PWM1;
  sConfigOC.Pulse = 0;
  sConfigOC.OCPolarity = TIM_OCPOLARITY_HIGH;
  sConfigOC.OCFastMode = TIM_OCFAST_DISABLE;
  if (HAL_TIM_PWM_ConfigChannel(&htim4, &sConfigOC, TIM_CHANNEL_4) != HAL_OK)
  {
    Error_Handler();
  }
  HAL_TIM_MspPostInit(&htim4);

}

static void MX_USART1_UART_Init(void)
{

  huart1.Instance = USART1;
  huart1.Init.BaudRate = 9600;
  huart1.Init.WordLength = UART_WORDLENGTH_8B;
  huart1.Init.StopBits = UART_STOPBITS_1;
  huart1.Init.Parity = UART_PARITY_NONE;
  huart1.Init.Mode = UART_MODE_TX_RX;
  huart1.Init.HwFlowCtl = UART_HWCONTROL_NONE;
  huart1.Init.OverSampling = UART_OVERSAMPLING_16;
  if (HAL_UART_Init(&huart1) != HAL_OK)
  {
    Error_Handler();
  }

}

static void MX_DMA_Init(void)
{

  /* DMA controller clock enable */
  __HAL_RCC_DMA1_CLK_ENABLE();

  /* DMA interrupt init */
  /* DMA1_Channel1_IRQn interrupt configuration */
  HAL_NVIC_SetPriority(DMA1_Channel1_IRQn, 0, 0);
  HAL_NVIC_EnableIRQ(DMA1_Channel1_IRQn);
  /* DMA1_Channel5_IRQn interrupt configuration */
  HAL_NVIC_SetPriority(DMA1_Channel5_IRQn, 0, 0);
  HAL_NVIC_EnableIRQ(DMA1_Channel5_IRQn);

}

static void MX_GPIO_Init(void)
{
  GPIO_InitTypeDef GPIO_InitStruct = {0};

  /* GPIO Ports Clock Enable */
  __HAL_RCC_GPIOD_CLK_ENABLE();
  __HAL_RCC_GPIOA_CLK_ENABLE();
  __HAL_RCC_GPIOB_CLK_ENABLE();

  /*Configure GPIO pin Output Level */
  HAL_GPIO_WritePin(GPIOA, DIR_1_Pin|DIR_2_Pin|TRIG_1_Pin|TRIG_2_Pin
                          |TRIG_3_Pin|LED_front_4_Pin, GPIO_PIN_RESET);

  /*Configure GPIO pin Output Level */
  HAL_GPIO_WritePin(GPIOB, LED_tail_1_Pin|LED_tail_2_Pin|LED_front_5_Pin|LED_front_6_Pin
                          |LED_front_1_Pin|LED_front_2_Pin|LED_front_3_Pin, GPIO_PIN_RESET);

  /*Configure GPIO pins : DIR_1_Pin DIR_2_Pin TRIG_1_Pin TRIG_2_Pin
                           TRIG_3_Pin LED_front_4_Pin */
  GPIO_InitStruct.Pin = DIR_1_Pin|DIR_2_Pin|TRIG_1_Pin|TRIG_2_Pin
                          |TRIG_3_Pin|LED_front_4_Pin;
  GPIO_InitStruct.Mode = GPIO_MODE_OUTPUT_PP;
  GPIO_InitStruct.Pull = GPIO_NOPULL;
  GPIO_InitStruct.Speed = GPIO_SPEED_FREQ_LOW;
  HAL_GPIO_Init(GPIOA, &GPIO_InitStruct);

  /*Configure GPIO pins : LED_tail_1_Pin LED_tail_2_Pin LED_front_5_Pin LED_front_6_Pin
                           LED_front_1_Pin LED_front_2_Pin LED_front_3_Pin */
  GPIO_InitStruct.Pin = LED_tail_1_Pin|LED_tail_2_Pin|LED_front_5_Pin|LED_front_6_Pin
                          |LED_front_1_Pin|LED_front_2_Pin|LED_front_3_Pin;
  GPIO_InitStruct.Mode = GPIO_MODE_OUTPUT_PP;
  GPIO_InitStruct.Pull = GPIO_NOPULL;
  GPIO_InitStruct.Speed = GPIO_SPEED_FREQ_LOW;
  HAL_GPIO_Init(GPIOB, &GPIO_InitStruct);

}

void readMPU6050(void const * argument)
{
  /* USER CODE BEGIN 5 */
//	+0.06 for some compenstation to make bot on top. Pitch is what changes from -0.69 to 0.41. -0.69 in front direction.
  uint32_t timer;
  uint32_t dt;
  /* Infinite loop */
  for(;;)
  {
	  // Calculate Roll and pitch from the accelerometer data
	  MPU6050_Read_Accel();
	  float accel_sqrt = sqrt(Ax*Ax + Az*Az);
	  if(accel_sqrt != 0.0)
	  {
		  Accel_X_Angle = atan(Ay / accel_sqrt) * 180 / M_PI;
		  Accel_Y_Angle = atan(-1 * Ax / accel_sqrt) * 180 / M_PI;
	  }

	  // Read gyroscope data
	  timer = osKernelSysTick();
	  dt = (uint32_t) (osKernelSysTick() - timer) / 1000;	// in ms
	  MPU6050_Read_Gyro();
	  Gyro_X_Angle += Gx * dt;
	  Gyro_Y_Angle += Gy * dt;

	  // Complementary filter - combine accelerometer and gyro angle values
	  roll = 0.96 * Gyro_X_Angle + 0.04 * Accel_X_Angle;
	  pitch = 0.96 * Gyro_Y_Angle + 0.04 * Accel_Y_Angle;
	  uart_buf_len = sprintf(uart_buf, "Roll: %f   Pitch: %f\r\n", roll, pitch);
	  HAL_UART_Transmit(&huart1, (uint8_t *)uart_buf, uart_buf_len, 1000);

	  osDelay(5);
   }
  /* USER CODE END 5 */
}

void moveRemote(void const * argument)
{
  /* USER CODE BEGIN moveRemote */
  left_toggle_switch = 0;
  left_joystick_button = 0;
  right_joystick_button = 1;
  right_toggle_switch = 1;
  joystick_1_x = 550;
  joystick_1_y = 550;
  joystick_2_x = 550;
  joystick_2_y = 550;
  /* Infinite loop */
  for(;;)
  {
	  HAL_UART_Receive(&huart1, (uint8_t *)xBee_buf, XBEE_BUF_LEN, 50);

	  if(sizeof(xBee_buf) >= 22){
		  if(xBee_buf[1] == 0x7E){
			  for(int i=2; i<12; i++){
				  uint8_t discard = xBee_buf[i];
			  }
		  // Digital Values
		  left_toggle_switch = xBee_buf[12];
		  right_toggle_switch = (xBee_buf[13] >> 7) & 0x01;	// Reading 7th bit
		  left_joystick_button = (xBee_buf[13] >> 4) & 0x01;	// Reading 4th bit
		  right_joystick_button = (xBee_buf[13] >> 6) & 0x01;	// Reading 5th bit

		  // Analog Values
		  joystick_2_x = (xBee_buf[14] << 8) | xBee_buf[15]; // xBee_buf[14] is MSB and xBee_buf[15] is LSB
		  joystick_2_y = (xBee_buf[16] << 8) | xBee_buf[17];
		  joystick_1_x = (xBee_buf[18] << 8) | xBee_buf[19];
		  joystick_1_y = (xBee_buf[20] << 8) | xBee_buf[21];

		  uart_buf_len = sprintf(uart_buf, "L_T: %d  R_T: %d  L_J: %d  R_J: %d  J1_X: %d  J1_Y: %d  J2_X: %d  J2_Y: %d\r\n",
							     left_toggle_switch, right_toggle_switch, left_joystick_button, right_joystick_button,
							     joystick_1_x, joystick_1_y, joystick_2_x, joystick_2_y);
		  HAL_UART_Transmit(&huart1, (uint8_t *)uart_buf, uart_buf_len, 1000);
		  }
	  }
	  uart_buf_len = sprintf(uart_buf, "\r\nSERVO POS: %f\r\n", servo_pos);
	  HAL_UART_Transmit(&huart1, (uint8_t *)uart_buf, uart_buf_len, 1000);
	  if(servo_pos > 2500)
		  servo_pos = 2490;
	  else if(servo_pos < 600)
		  servo_pos = 630;

	  if(joystick_2_y > 600)
	  {
		  HAL_GPIO_WritePin(LED_tail_1_GPIO_Port, LED_tail_1_Pin, SET);
		  servo_pos += 30;
		  HAL_TIM_PWM_Start_IT(&htim4, TIM_CHANNEL_4);
		  HAL_GPIO_WritePin(LED_tail_1_GPIO_Port, LED_tail_1_Pin, SET);
	  }

	  else if(joystick_2_y < 400)
	  {
		  HAL_GPIO_WritePin(LED_tail_2_GPIO_Port, LED_tail_2_Pin, SET);
		  servo_pos -= 30;
		  HAL_TIM_PWM_Start_IT(&htim4, TIM_CHANNEL_4);
		  HAL_GPIO_WritePin(LED_tail_2_GPIO_Port, LED_tail_2_Pin, SET);
	  }

	  if(joystick_1_y > 1000)
		  stepper_motor(200, 1);
	  else if(joystick_1_y < 10)
		  stepper_motor(200, 0);
	  else if(joystick_1_x > 1000)
		  right_turn(200);
	  else if(joystick_1_x < 10)
		  left_turn(200);
	  else if(joystick_1_x < 600 && joystick_1_x > 400 && joystick_1_y < 600 && joystick_1_y > 400)
		  stepper_motor(0, 0);

	  if(right_toggle_switch == 1)
	  {
		  HAL_GPIO_WritePin(LED_front_1_GPIO_Port, LED_front_1_Pin, SET);
		  HAL_GPIO_WritePin(LED_front_4_GPIO_Port, LED_front_4_Pin, SET);
		  delay_us(1000);
		  HAL_GPIO_WritePin(LED_front_2_GPIO_Port, LED_front_2_Pin, SET);
		  HAL_GPIO_WritePin(LED_front_5_GPIO_Port, LED_front_5_Pin, SET);
		  delay_us(1000);
		  HAL_GPIO_WritePin(LED_front_3_GPIO_Port, LED_front_3_Pin, SET);
		  HAL_GPIO_WritePin(LED_front_6_GPIO_Port, LED_front_6_Pin, SET);
		  delay_us(1000);
		  HAL_GPIO_WritePin(LED_tail_1_GPIO_Port, LED_tail_1_Pin, SET);
		  HAL_GPIO_WritePin(LED_tail_2_GPIO_Port, LED_tail_2_Pin, SET);
		  delay_us(1000);
		  HAL_GPIO_WritePin(LED_front_1_GPIO_Port, LED_front_1_Pin, RESET);
		  HAL_GPIO_WritePin(LED_front_4_GPIO_Port, LED_front_4_Pin, RESET);
		  delay_us(1000);
		  HAL_GPIO_WritePin(LED_front_2_GPIO_Port, LED_front_2_Pin, RESET);
		  HAL_GPIO_WritePin(LED_front_5_GPIO_Port, LED_front_5_Pin, RESET);
		  delay_us(1000);
		  HAL_GPIO_WritePin(LED_front_3_GPIO_Port, LED_front_3_Pin, RESET);
		  HAL_GPIO_WritePin(LED_front_6_GPIO_Port, LED_front_6_Pin, RESET);
		  delay_us(1000);
		  HAL_GPIO_WritePin(LED_tail_1_GPIO_Port, LED_tail_1_Pin, RESET);
		  HAL_GPIO_WritePin(LED_tail_2_GPIO_Port, LED_tail_2_Pin, RESET);
		  delay_us(1000);
	  }

	  if(left_toggle_switch == 1)
	  {
		  HAL_GPIO_WritePin(LED_front_1_GPIO_Port, LED_front_1_Pin, SET);
		  HAL_GPIO_WritePin(LED_front_6_GPIO_Port, LED_front_6_Pin, SET);
		  buzzer_tone(C5);
		  uint8_t step = 0;
		  while(step < 255){
			  stepper_motor(200, 0);
			  step++;
		  }
	  }
	  if(left_joystick_button == 0 && right_joystick_button == 0)
	  {
		  stepper_motor(0, 0);
		  buzzer_tone(D8);
	  }
	  osDelay(50);
  }
  /* USER CODE END moveRemote */
}

void balanceBot(void const * argument)
{
  /* USER CODE BEGIN balanceBot */
	uint32_t timer;
	uint32_t dt;
  /* Infinite loop */
  for(;;)
  {
	  uart_buf_len = sprintf(uart_buf, "\r\nBBBBBBBBBBBBBBBBBBBBBBBBBBBBBBBB\r\n");
	  HAL_UART_Transmit(&huart1, (uint8_t *)uart_buf, uart_buf_len, 1000);
	  HAL_GPIO_WritePin(LED_front_2_GPIO_Port, LED_front_2_Pin, GPIO_PIN_SET);
	  HAL_GPIO_WritePin(LED_front_4_GPIO_Port, LED_front_4_Pin, GPIO_PIN_SET);

	  timer = osKernelSysTick();

	  float velocity = WHEEL_CIRCUMFERENCE * freq_hz;
	  if(HAL_GPIO_ReadPin(GPIOA, DIR_1_Pin|DIR_2_Pin) == 0)
		  velocity = -velocity;
	  float displacement = velocity * dt;
	  float angle = pitch;
	  float angular_velocity = angle/dt;

	  /*** Balancing Robot using LQR Techniques
	   * u = k1x1 + k2x2 + k3x3 + k4x4 + k5*Summation(Sref - x3))
	   * where
	   * u is input for robot to balance (linear acceleration)
	   * x1 is angle
	   * x2 is angular_velocity
	   * x3 is displacement
	   * x4 is velocity
	   * Sref is reference distance
	   * K is find out using LQR Techniques in MATLAB.
	   */

	  float K[5] = {-17.7330,   -9.4892,   -3.9723,   -8.2863,    0.9029};
	  //-11.6627   -1.8369  -33.2238  -18.4712   29.8794

	  s += (Sref - displacement);
	  float u = K[0]*angle + K[1]*angular_velocity + K[2]*displacement + K[3]*velocity + K[4]*s;
	  balance_robot_func(u);	//DELETE THIS
	  osDelay(2);
	  while(u < -0.1 && u > 0.1)
	  {
		  if(angle<0.0)
			  balance_robot_func(u);
		  else if(angle>0.0)
			  balance_robot_func(-u);
	  }

	  if(u<0.1 && u>-0.1)
	  {
		  angle = 0;
		  displacement = 0;
		  angular_velocity = 0;
		  velocity = 0;
		  s = 0;
	  }

	  HAL_GPIO_WritePin(LED_front_2_GPIO_Port, LED_front_2_Pin, GPIO_PIN_RESET);
	  HAL_GPIO_WritePin(LED_front_4_GPIO_Port, LED_front_4_Pin, GPIO_PIN_RESET);
	  dt = (uint32_t) (osKernelSysTick() - timer) / 1000;	// in ms
	  osDelay(5);
  }
  /* USER CODE END balanceBot */
}

void checkBatteryVoltage(void const * argument)
{
  /* USER CODE BEGIN checkBatteryVoltage */
  /* Infinite loop */
  for(;;)
  {
  uart_buf_len = sprintf(uart_buf, "\r\nVVVVVVVVVVVVVVVVVVVVVVVVVVVVVVVVVVVV\r\n");
  HAL_UART_Transmit(&huart1, (uint8_t *)uart_buf, uart_buf_len, 1000);
  // Start DMA for finding Battery voltage
  HAL_ADC_Start_DMA(&hadc1, (uint32_t *)adc_buf, ADC_BUF_LEN);	// start the ADC in DMA mode
  if(battery_voltage < SAFE_VOLTAGE)
  {
	  buzzer_tone(D8);
	  int step = 0;
	  while(step < 400)
	  {
		  stepper_motor(200, 0);
		  step++;
	  }
	  if(left_joystick_button == 0 && right_joystick_button == 0)
		  step++;
	  }
  osDelay(60000);
  }
  /* USER CODE END checkBatteryVoltage */
}

void avoidCollision(void const * argument)
{
  /* USER CODE BEGIN avoidCollision */
  /* Infinite loop */
  for(;;)
  {
	  uart_buf_len = sprintf(uart_buf, "\r\nCCCCCCCCCCCCCCCCCCCCCCCCCCCCCC\r\n");
	  HAL_UART_Transmit(&huart1, (uint8_t *)uart_buf, uart_buf_len, 1000);
	  HCSR04_Read();
	  if(distance[0] < 5)
	  {
		  if(distance[1] <= 5 && distance[2] <= 5)
			  stepper_motor(200, 0);
		  else if(distance[1] <= 5 && distance [2] > 5)
			  right_turn(200);
		  else
			  left_turn(200);
	  }
	  osDelay(200);
  }
  /* USER CODE END avoidCollision */
}

void HAL_TIM_PeriodElapsedCallback(TIM_HandleTypeDef *htim)
{
  if (htim->Instance == TIM1) {
    HAL_IncTick();
  }
}

void Error_Handler(void)
{
}

/************************ (C) COPYRIGHT STMicroelectronics *****END OF FILE****/
